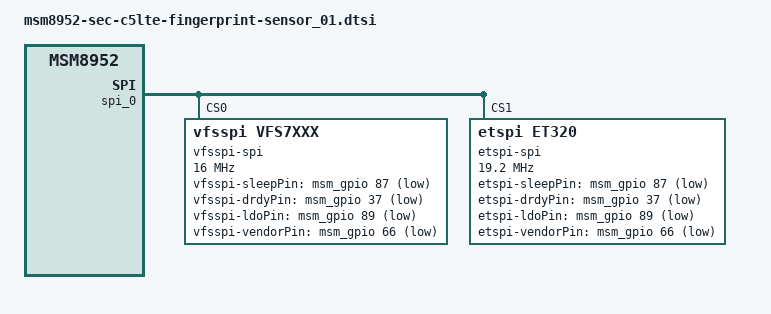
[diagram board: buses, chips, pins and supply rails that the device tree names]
/* Copyright (c) 2013-2014, The Linux Foundation. All rights reserved.
 *
 * This program is free software; you can redistribute it and/or modify
 * it under the terms of the GNU General Public License version 2 and
 * only version 2 as published by the Free Software Foundation.
 *
 * This program is distributed in the hope that it will be useful,
 * but WITHOUT ANY WARRANTY; without even the implied warranty of
 * MERCHANTABILITY or FITNESS FOR A PARTICULAR PURPOSE.  See the
 * GNU General Public License for more details.
 */

&spi_0 { /* BLSP1 QUP0 */
	status = "okay";

	vfsspi-spi@0 {
	compatible = "vfsspi,vfs7xxx";
		reg = <0>;
		spi-max-frequency = <16000000>;
		vfsspi-sleepPin = <&msm_gpio 87 0x1>;
		vfsspi-drdyPin = <&msm_gpio 37 0x01>;
		vfsspi-ldoPin = <&msm_gpio 89 0x1>;
		vfsspi-vendorPin = <&msm_gpio 66 0x1>;
		vfsspi-orient = <0>;
		vfsspi-ldocontrol= <1>;
		vfsspi-min_cpufeq_limit = <1516800>;

		pinctrl-names = "default", "sleep", "idle";
		pinctrl-0 = <&vfsspi_drdypin_active>;
		pinctrl-1 = <&vfsspi_drdypin_suspend>;
		pinctrl-2 = <&vfsspi_drdypin_active>;
	};

	etspi-spi@1 {
		compatible = "etspi,et320";
		reg = <1>;
		spi-max-frequency = <19200000>;
		etspi-sleepPin = <&msm_gpio 87 0x1>;
		etspi-drdyPin = <&msm_gpio 37 0x01>;
		etspi-ldoPin = <&msm_gpio 89 0x1>;
		etspi-vendorPin = <&msm_gpio 66 0x1>;
		etspi-orient = <0>;
		etspi-ldocontrol= <1>;
		etspi-min_cpufeq_limit = <1516800>;

		pinctrl-names = "default", "sleep", "idle";
		pinctrl-0 = <&etspi_drdypin_active>;
		pinctrl-1 = <&etspi_drdypin_suspend>;
		pinctrl-2 = <&etspi_drdypin_active>;
	};
};
